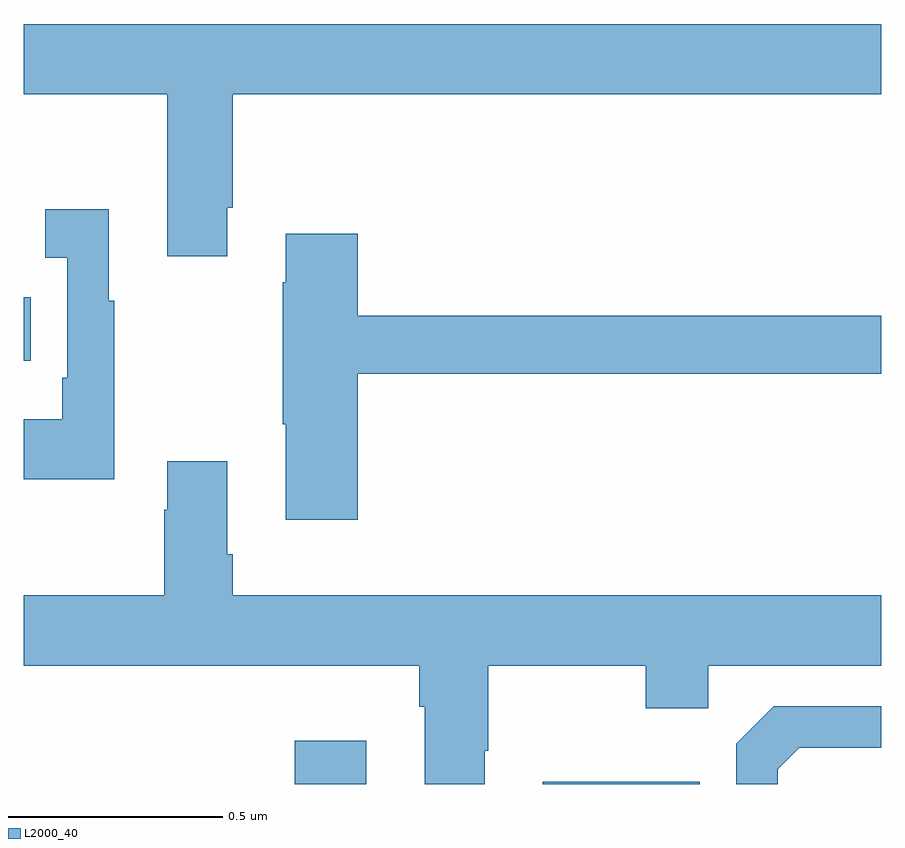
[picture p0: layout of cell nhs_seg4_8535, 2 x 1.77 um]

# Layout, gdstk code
import gdstk
lib = gdstk.Library(unit=1e-6, precision=1e-09)
def R(c, l, rs):  # rectangles x0, y0, x1, y1
    for r in rs: c.add(gdstk.rectangle(r[:2], r[2:], *l))
def P(c, l, *ps):  # polygons
    for p in ps: c.add(gdstk.Polygon(p, *l))
L2000_40 = (2000, 40)

nhs_seg4_8535 = lib.new_cell('nhs_seg4_8535')
R(nhs_seg4_8535, L2000_40, [(216.632,773.9,216.799,774.001), (217.211,773.9,217.577,773.905), (216,774.887,216.017,775.035)])
P(nhs_seg4_8535, L2000_40, [(216.475,775.243),(216.488,775.243),(216.488,775.508),(218,775.508),(218,775.672),(216,775.672),(216,775.508),(216.335,775.508),(216.335,775.131),(216.475,775.131)],
  [(216.211,775.027),(216.199,775.027),(216.199,775.24),(216.051,775.24),(216.051,775.127),(216.102,775.127),(216.102,774.847),(216.09,774.847),(216.09,774.751),(216,774.751),(216,774.611),(216.211,774.611)],
  [(216.779,774.856),(218,774.856),(218,774.992),(216.779,774.992),(216.779,775.183),(216.611,775.183),(216.611,775.07),(216.604,775.07),(216.604,774.739),(216.611,774.739),(216.611,774.516),(216.779,774.516)],
  [(217.075,773.977),(217.083,773.977),(217.083,774.176),(217.45,774.176),(217.45,774.077),(217.596,774.077),(217.596,774.176),(218,774.176),(218,774.34),(216.488,774.34),(216.488,774.436),(216.475,774.436),(216.475,774.652),(216.335,774.652),(216.335,774.539),(216.328,774.539),(216.328,774.34),(216,774.34),(216,774.176),(216.923,774.176),(216.923,774.08),(216.935,774.08),(216.935,773.9),(217.075,773.9)],
  [(217.758,773.934),(217.809,773.985),(218,773.985),(218,774.081),(217.749,774.081),(217.662,773.994),(217.662,773.9),(217.758,773.9)])

lib.write_gds('nhs_seg4_8535.gds')
